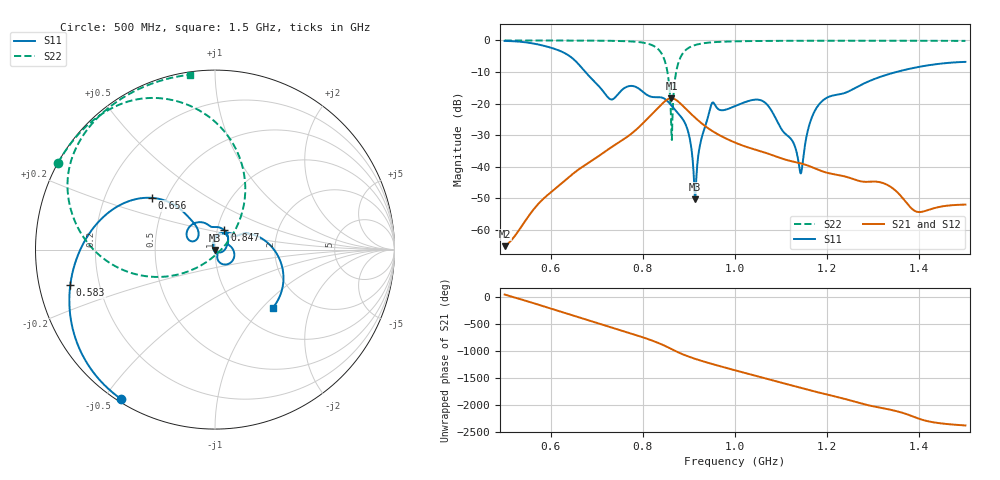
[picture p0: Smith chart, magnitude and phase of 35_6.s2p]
! TOUCHSTONE file generated by CST MICROWAVE STUDIO
! Date and time: Fri Oct  2 18:59:53 2020
! Project name: Scenario_1_Free_Space_out_of_line.cst
! Parameters = {Lambda=346.42; Step_1=17.321; dy1=-241.954; dx1=1039; L_HA=400; MT=2.54; Rad_Dielectric=30; Rad_Lower=7.3; Rad_Upper=30; a_HA=580; a_WG=246; b_HA=500; b_WG=121; c_HA=0; c_WG=187; d_feed=85; h_feed=15; h_lower=18; h_upper=40}
! Header version: 2018
! Port assignment regex: !\s*Touchstone port\s*([0-9]+)\s*=\s*(CST MWS port|CST DS port)\s*([0-9]+|Zmin|Zmax)\s*\(\"(.*)\"\)(\s*mode\s*([0-9]+))?.*
! Touchstone port assignment:
! Touchstone port 1 = CST MWS port 1 ("")
! Touchstone port 2 = CST MWS port 2 ("")
# GHz S DB R 50
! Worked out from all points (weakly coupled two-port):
!   1003 points, 500 MHz to 1.5 GHz, reference 50 ohm
!   highest |S21| = -18.32 dB at 862 MHz (marker M1); lowest = -65.2 dB at 500 MHz (marker M2)
!   lowest |S11| = -50.3 dB at 913 MHz (marker M3), VSWR 1.01, Z = 49.8 - j0.235 ohm
!   |S11| at or under -10 dB: 675.3 MHz to 1.35 GHz (674.7 MHz wide, 66.6 % of centre)
!   |S22| runs from -31.5 to 0.0 dB; largest |S21 - S12| = 0.00015
!   S11 on the Smith chart (normalised r, x): 500 MHz: 0.01, -0.55; 583 MHz: 0.09, -0.12; 656 MHz: 0.41, +0.30; 847 MHz: 1.08, +0.24; 1.5 GHz: 1.39, -1.15
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0.5  -0.15 -122.3  -65.19 41.6  -65.19 41.6  -0.01 151.1
0.583  -1.61 -166.2  -50.34 -172.9  -50.34 -172.9  -0.02 145.4
0.656  -6.83 140.7  -41.39 -7.1  -41.39 -7.1  -0.04 139.4
0.667  -8.59 134.3  -40.23 -37.1  -40.23 -37.1  -0.04 138.3
0.73  -18.67 144.6  -34.02 155.7  -34.02 155.7  -0.12 130.9
0.774  -14.41 138.7  -29.69 39.3  -29.69 39.3  -0.31 122.5
0.834  -17.97 84.6  -21.22 -137.9  -21.22 -137.9  -2.87 90.6
0.847  -18.47 63.8  -19.38 174.0  -19.38 174.0  -6.18 72.0
0.862  -20.64 38.6  -18.32 110.6  -18.32 110.6  -29.20 0.7
0.88  -23.71 13.5  -19.78 36.4  -19.78 36.4  -5.90 -166.1
0.899  -29.29 -27.2  -22.49 -28.1  -22.49 -28.1  -2.39 172.4
0.913  -50.32 -129.3  -24.42 -69.5  -24.42 -69.5  -1.48 163.4
0.949  -20.18 69.0  -28.54 -163.1  -28.54 -163.1  -0.60 150.3
1  -20.82 9.7  -32.37 76.6  -32.37 76.6  -0.28 140.7
1.067  -19.93 -55.7  -35.64 -77.5  -35.64 -77.5  -0.16 133.0
1.125  -31.96 -66.2  -38.36 152.1  -38.36 152.1  -0.11 127.8
1.142  -42.01 -142.6  -38.93 113.8  -38.93 113.8  -0.11 126.3
1.167  -24.30 89.5  -40.16 56.2  -40.16 56.2  -0.10 124.3
1.199  -18.18 49.0  -41.90 -11.7  -41.90 -11.7  -0.09 121.8
1.334  -10.66 8.0  -46.05 71.0  -46.13 69.9  -0.09 111.6
1.395  -8.50 -11.7  -54.29 -89.1  -54.25 -90.8  -0.10 106.9
1.5  -6.80 -45.4  -52.02 133.1  -52.09 133.8  -0.14 98.1
